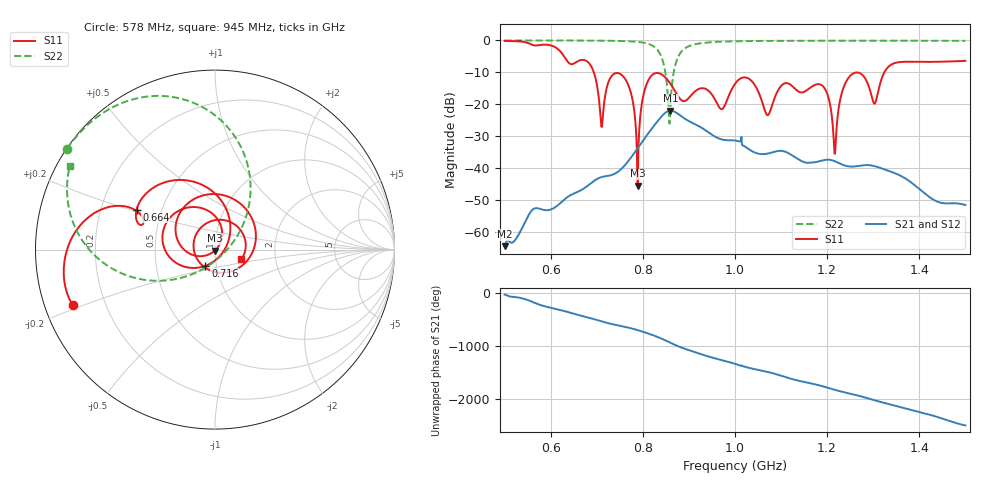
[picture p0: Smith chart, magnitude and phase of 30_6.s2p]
! TOUCHSTONE file generated by CST MICROWAVE STUDIO
! Date and time: Tue Nov 24 13:45:24 2020
! Project name: Scenario_1_Planar_Body_Tissue_Out_of_Line.cst
! Parameters = {dy1=155.7; L_HA=400; Ltissue=700; MT=2.54; Rad_Dielectric=30; Rad_Lower=7.3; Rad_Upper=30; Wtissue=700; a_HA=580; a_WG=246; b_HA=500; b_WG=121; c_HA=0; c_WG=187; d_feed=85; dx1=1039; h_feed=15; h_lower=18; h_upper=40; hfat=3; hgap=25; hmuscle=50; hskin=1.5}
! Header version: 2018
! Port assignment regex: !\s*Touchstone port\s*([0-9]+)\s*=\s*(CST MWS port|CST DS port)\s*([0-9]+|Zmin|Zmax)\s*\(\"(.*)\"\)(\s*mode\s*([0-9]+))?.*
! Touchstone port assignment:
! Touchstone port 1 = CST MWS port 1 ("")
! Touchstone port 2 = CST MWS port 2 ("")
# GHz S DB R 50
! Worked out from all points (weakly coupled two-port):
!   1003 points, 500 MHz to 1.5 GHz, reference 50 ohm
!   highest |S21| = -21.97 dB at 860 MHz (marker M1); lowest = -64.4 dB at 500 MHz (marker M2)
!   lowest |S11| = -45.5 dB at 789 MHz (marker M3), VSWR 1.01, Z = 49.9 - j0.528 ohm
!   |S11| at or under -10 dB: 693.6 MHz to 1.324 GHz (630.4 MHz wide, 62.5 % of centre)
!   |S22| runs from -26.0 to 0.0 dB; largest |S21 - S12| = 0.0096
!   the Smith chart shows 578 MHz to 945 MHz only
!   S11 on the Smith chart (normalised r, x): 578 MHz: 0.08, -0.19; 664 MHz: 0.36, +0.21; 716 MHz: 0.89, -0.16; 945 MHz: 1.34, -0.15
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0.5  -0.15 -121.6  -64.38 -20.2  -64.38 -20.2  -0.01 151.2
0.578  -1.41 -158.8  -52.76 139.9  -52.76 139.9  -0.02 145.8
0.664  -6.19 152.9  -47.00 -57.2  -47.00 -57.2  -0.04 138.7
0.667  -6.09 148.9  -46.77 -63.9  -46.77 -63.9  -0.04 138.4
0.716  -19.60 -120.4  -42.57 175.8  -42.57 175.8  -0.09 132.8
0.757  -11.20 121.1  -39.68 94.9  -39.68 94.9  -0.20 126.1
0.789  -45.49 -96.2  -33.66 24.1  -33.66 24.1  -0.46 117.3
0.805  -15.01 178.5  -30.40 -19.8  -30.40 -19.8  -0.80 110.0
0.834  -10.23 85.1  -24.91 -112.4  -24.91 -112.4  -3.39 83.3
0.86  -13.61 -4.3  -21.97 143.6  -21.97 143.6  -20.35 -111.5
0.881  -18.32 -97.8  -23.47 63.1  -23.47 63.1  -4.03 -173.5
0.945  -16.09 -20.2  -29.02 -122.7  -29.02 -122.7  -0.59 150.1
0.972  -21.48 -161.5  -31.00 174.1  -31.00 174.1  -0.37 144.5
1  -13.59 58.6  -31.31 104.6  -31.30 104.5  -0.26 140.2
1.071  -23.39 142.0  -35.41 -49.9  -35.41 -49.9  -0.14 132.3
1.167  -14.41 76.5  -38.22 89.6  -38.22 89.6  -0.10 124.2
1.197  -15.62 -10.4  -37.36 22.3  -37.36 22.3  -0.09 121.9
1.217  -35.47 -166.2  -37.82 -29.8  -37.82 -29.8  -0.09 120.3
1.247  -11.58 55.5  -39.41 -95.0  -39.41 -95.0  -0.09 118.1
1.303  -19.80 15.8  -39.34 133.3  -39.34 133.3  -0.08 113.9
1.334  -8.10 24.6  -40.84 60.2  -40.84 60.2  -0.09 111.5
1.5  -6.38 -43.2  -51.51 15.6  -51.51 15.6  -0.13 97.9
